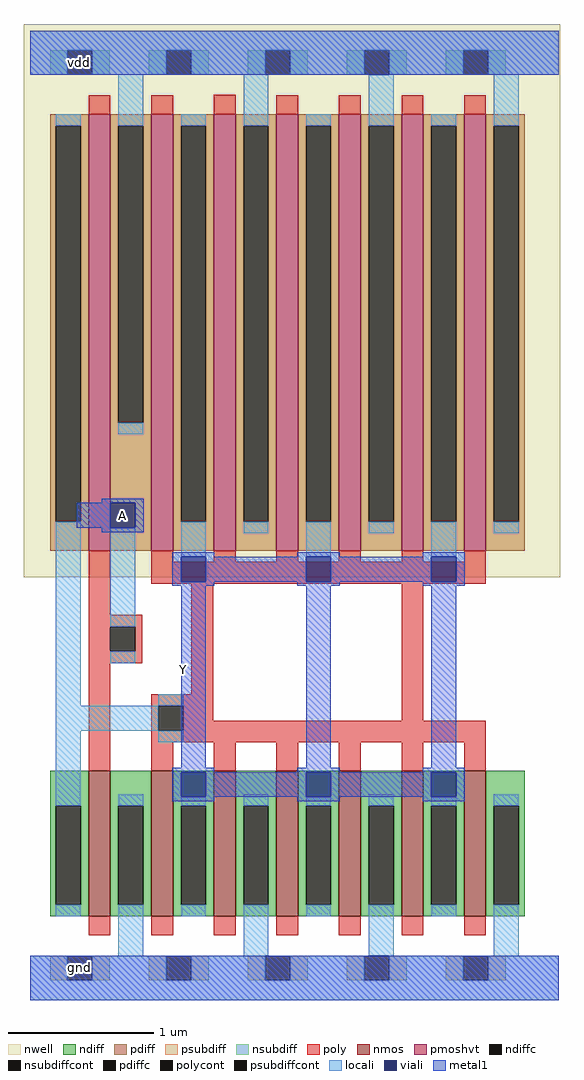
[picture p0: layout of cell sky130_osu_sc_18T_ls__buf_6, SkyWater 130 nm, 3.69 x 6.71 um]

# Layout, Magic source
magic
tech sky130A
magscale 1 2
<< nwell >>
rect -9 581 728 1341
<< nmos >>
rect 80 115 110 315
rect 166 115 196 315
rect 252 115 282 315
rect 338 115 368 315
rect 424 115 454 315
rect 510 115 540 315
rect 596 115 626 315
<< pmoshvt >>
rect 80 617 110 1217
rect 166 617 196 1217
rect 252 617 282 1217
rect 338 617 368 1217
rect 424 617 454 1217
rect 510 617 540 1217
rect 596 617 626 1217
<< ndiff >>
rect 27 267 80 315
rect 27 131 35 267
rect 69 131 80 267
rect 27 115 80 131
rect 110 267 166 315
rect 110 131 121 267
rect 155 131 166 267
rect 110 115 166 131
rect 196 267 252 315
rect 196 131 207 267
rect 241 131 252 267
rect 196 115 252 131
rect 282 267 338 315
rect 282 131 293 267
rect 327 131 338 267
rect 282 115 338 131
rect 368 267 424 315
rect 368 131 379 267
rect 413 131 424 267
rect 368 115 424 131
rect 454 267 510 315
rect 454 131 465 267
rect 499 131 510 267
rect 454 115 510 131
rect 540 267 596 315
rect 540 131 551 267
rect 585 131 596 267
rect 540 115 596 131
rect 626 267 679 315
rect 626 131 637 267
rect 671 131 679 267
rect 626 115 679 131
<< pdiff >>
rect 27 1201 80 1217
rect 27 657 35 1201
rect 69 657 80 1201
rect 27 617 80 657
rect 110 1201 166 1217
rect 110 793 121 1201
rect 155 793 166 1201
rect 110 617 166 793
rect 196 1201 252 1217
rect 196 657 207 1201
rect 241 657 252 1201
rect 196 617 252 657
rect 282 1201 338 1217
rect 282 657 293 1201
rect 327 657 338 1201
rect 282 617 338 657
rect 368 1201 424 1217
rect 368 657 379 1201
rect 413 657 424 1201
rect 368 617 424 657
rect 454 1201 510 1217
rect 454 657 465 1201
rect 499 657 510 1201
rect 454 617 510 657
rect 540 1201 596 1217
rect 540 657 551 1201
rect 585 657 596 1201
rect 540 617 596 657
rect 626 1201 679 1217
rect 626 657 637 1201
rect 671 657 679 1201
rect 626 617 679 657
<< ndiffc >>
rect 35 131 69 267
rect 121 131 155 267
rect 207 131 241 267
rect 293 131 327 267
rect 379 131 413 267
rect 465 131 499 267
rect 551 131 585 267
rect 637 131 671 267
<< pdiffc >>
rect 35 657 69 1201
rect 121 793 155 1201
rect 207 657 241 1201
rect 293 657 327 1201
rect 379 657 413 1201
rect 465 657 499 1201
rect 551 657 585 1201
rect 637 657 671 1201
<< psubdiff >>
rect 27 27 51 61
rect 85 27 109 61
rect 163 27 187 61
rect 221 27 245 61
rect 299 27 323 61
rect 357 27 381 61
rect 435 27 459 61
rect 493 27 517 61
rect 571 27 595 61
rect 629 27 653 61
<< nsubdiff >>
rect 27 1271 51 1305
rect 85 1271 109 1305
rect 163 1271 187 1305
rect 221 1271 245 1305
rect 299 1271 323 1305
rect 357 1271 381 1305
rect 435 1271 459 1305
rect 493 1271 517 1305
rect 571 1271 595 1305
rect 629 1271 653 1305
<< psubdiffcont >>
rect 51 27 85 61
rect 187 27 221 61
rect 323 27 357 61
rect 459 27 493 61
rect 595 27 629 61
<< nsubdiffcont >>
rect 51 1271 85 1305
rect 187 1271 221 1305
rect 323 1271 357 1305
rect 459 1271 493 1305
rect 595 1271 629 1305
<< poly >>
rect 80 1217 110 1243
rect 166 1217 196 1243
rect 252 1217 282 1244
rect 338 1217 368 1243
rect 424 1217 454 1243
rect 510 1217 540 1243
rect 596 1217 626 1243
rect 80 529 110 617
rect 166 602 196 617
rect 252 602 282 617
rect 338 602 368 617
rect 424 602 454 617
rect 510 602 540 617
rect 596 602 626 617
rect 166 572 626 602
rect 80 513 154 529
rect 80 479 110 513
rect 144 479 154 513
rect 80 463 154 479
rect 80 315 110 463
rect 221 420 251 572
rect 166 404 251 420
rect 166 370 176 404
rect 210 384 251 404
rect 510 384 540 572
rect 210 370 626 384
rect 166 354 626 370
rect 166 315 196 354
rect 252 315 282 354
rect 338 315 368 354
rect 424 315 454 354
rect 510 315 540 354
rect 596 315 626 354
rect 80 89 110 115
rect 166 89 196 115
rect 252 89 282 115
rect 338 89 368 115
rect 424 89 454 115
rect 510 89 540 115
rect 596 89 626 115
<< polycont >>
rect 110 479 144 513
rect 176 370 210 404
<< locali >>
rect 0 1305 726 1332
rect 0 1271 51 1305
rect 85 1271 187 1305
rect 221 1271 323 1305
rect 357 1271 459 1305
rect 493 1271 595 1305
rect 629 1271 726 1305
rect 35 1201 69 1217
rect 121 1201 155 1271
rect 121 777 155 793
rect 207 1201 241 1217
rect 35 404 69 657
rect 110 513 144 649
rect 207 609 241 657
rect 293 1201 327 1271
rect 293 641 327 657
rect 379 1201 413 1217
rect 379 609 413 657
rect 465 1201 499 1271
rect 465 641 499 657
rect 551 1201 585 1217
rect 551 609 585 657
rect 637 1201 671 1271
rect 637 641 671 657
rect 110 463 144 479
rect 176 404 210 420
rect 35 370 176 404
rect 35 267 69 370
rect 176 354 210 370
rect 35 115 69 131
rect 121 267 155 283
rect 121 61 155 131
rect 207 267 241 279
rect 207 115 241 131
rect 293 267 327 283
rect 293 61 327 131
rect 379 267 413 279
rect 379 115 413 131
rect 465 267 499 283
rect 465 61 499 131
rect 551 267 585 279
rect 551 115 585 131
rect 637 267 671 283
rect 637 61 671 131
rect 0 27 51 61
rect 85 27 187 61
rect 221 27 323 61
rect 357 27 459 61
rect 493 27 595 61
rect 629 27 726 61
rect 0 0 726 27
<< viali >>
rect 110 649 144 683
rect 207 575 241 609
rect 379 575 413 609
rect 551 575 585 609
rect 207 279 241 313
rect 379 279 413 313
rect 551 279 585 313
<< metal1 >>
rect 0 1271 726 1332
rect 98 683 156 689
rect 64 649 110 683
rect 144 649 156 683
rect 98 643 156 649
rect 195 609 253 615
rect 367 609 425 615
rect 539 609 597 615
rect 195 575 207 609
rect 241 575 379 609
rect 413 575 551 609
rect 585 575 597 609
rect 195 569 253 575
rect 367 569 425 575
rect 539 569 597 575
rect 207 319 241 569
rect 379 319 413 569
rect 551 319 585 569
rect 195 313 253 319
rect 367 313 425 319
rect 539 313 597 319
rect 195 279 207 313
rect 241 279 379 313
rect 413 279 551 313
rect 585 279 597 313
rect 195 273 253 279
rect 367 273 425 279
rect 539 273 597 279
rect 0 0 726 61
<< labels >>
rlabel metal1 127 666 127 666 1 A
port 1 n
rlabel metal1 211 454 211 454 1 Y
port 2 n
rlabel metal1 68 44 68 44 1 gnd
rlabel metal1 68 1288 68 1288 1 vdd
<< end >>
